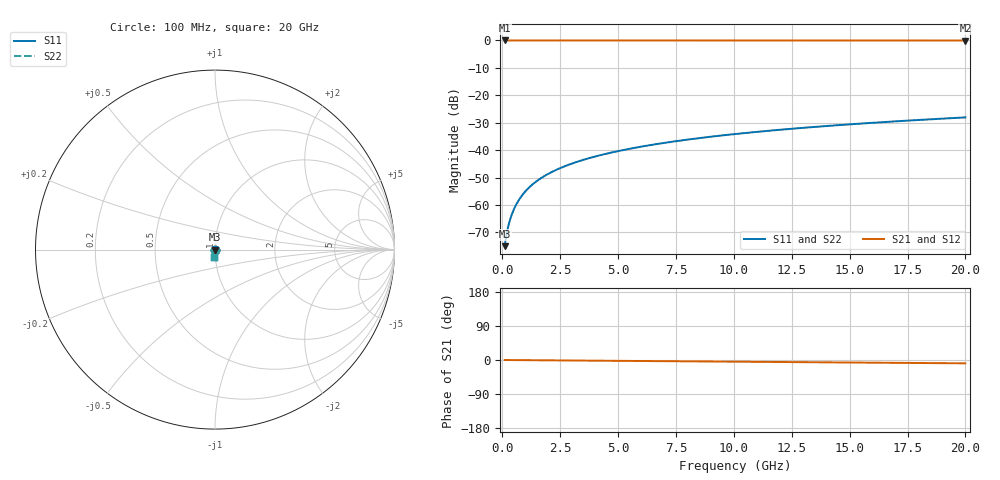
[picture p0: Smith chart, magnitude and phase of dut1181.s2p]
! Touchstone file exported from HFSS 2026.1.0
!  File:  C:/ffzhzh/LocalFiles/Ansys_Project_Files/temp_train_TSV_1181_1783192235_22436.aedt
!  Generated:  03:12:00 AM Jul  5, 2026
!  Design:  TSV
!  Project:  temp_train_TSV_1181_1783192235_22436
! Variables:
!  h_bsmrdl = 2um
!  h_ox = 20um
!  h_rdl = 5um
!  h_sub = 88.49um
!  h_tmrdl = 5um
!  h_tsv = 88.49um
!  h_via = 3um
!  l_bsmrdl = 300um
!  l_sub = 426.16um
!  l_tmrdl = 200um
!  m_sub = 200um
!  pitch = 41.36um
!  r_tsv = 13.08um
!  s_tmrdl = 10um
!  w_bsmrdl = 18um
!  w_sub = 500um
!  w_tmrdl = 12um
!  x_tsv_center1 = 206um
!  x_tsv_center2 = 524um
!  x_tsv_center3 = 736um
!  x_tsv_center4 = 1054um
!  x_tsv_center5 = 1266um
!  x_tsv_center6 = 1584um
# GHz S MA R 50.000000
! Terminal data exported
! Port[1] = TSV1_1_T1
! Port[2] = TSV1_1_T2
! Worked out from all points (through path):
!   200 points, 100 MHz to 20 GHz, reference 50 ohm
!   highest |S21| = 0.00 dB at 100 MHz (marker M1); lowest = 0.0 dB at 20 GHz (marker M2)
!   group delay of S21, straight-line fit = 1.22 ps
!   lowest |S11| = -75.0 dB at 100 MHz (marker M3), VSWR 1.00, Z = 50 - j0.015 ohm
!   |S11| at or under -10 dB: start of sweep to end of sweep
!   |S22| runs from -75.0 to -28.0 dB; largest |S21 - S12| = 5.6e-15
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0.1  0.0001781 -57.1  0.9999 -0.0  0.9999 -0.0  0.0001781 -57.1
! Gamma 0 0 0 0
! Port Impedance 50 0 50 0
0.2  0.0003235 -69.7  0.9999 -0.1  0.9999 -0.1  0.0003235 -69.7
0.3  0.0004838 -73.8  0.9999 -0.1  0.9999 -0.1  0.0004838 -73.8
0.4  0.0006541 -75.8  0.9998 -0.2  0.9998 -0.2  0.0006541 -75.8
0.5  0.0008323 -77.0  0.9998 -0.2  0.9998 -0.2  0.0008323 -77.0
0.7  0.001205 -78.7  0.9998 -0.3  0.9998 -0.3  0.001205 -78.7
0.8  0.001396 -79.5  0.9997 -0.4  0.9997 -0.4  0.001396 -79.5
1  0.001784 -80.8  0.9997 -0.5  0.9997 -0.5  0.001784 -80.8
1.2  0.002174 -81.8  0.9997 -0.5  0.9997 -0.5  0.002174 -81.8
1.4  0.002565 -82.7  0.9996 -0.6  0.9996 -0.6  0.002565 -82.7
1.7  0.003151 -83.8  0.9996 -0.8  0.9996 -0.8  0.003151 -83.8
2  0.003737 -84.7  0.9996 -0.9  0.9996 -0.9  0.003737 -84.7
2.7  0.005103 -86.0  0.9995 -1.2  0.9995 -1.2  0.005103 -86.0
3.5  0.006669 -87.1  0.9995 -1.6  0.9995 -1.6  0.006669 -87.1
4.2  0.008045 -87.8  0.9994 -1.9  0.9994 -1.9  0.008045 -87.8
5  0.009625 -88.5  0.9993 -2.2  0.9993 -2.2  0.009625 -88.5
6.8  0.0132 -89.9  0.9992 -3.0  0.9992 -3.0  0.0132 -89.9
8.3  0.01619 -90.8  0.9991 -3.7  0.9991 -3.7  0.01619 -90.8
10.1  0.01979 -91.9  0.9989 -4.5  0.9989 -4.5  0.01979 -91.9
13.4  0.02638 -93.7  0.9986 -5.9  0.9986 -5.9  0.02638 -93.7
16.7  0.03298 -95.4  0.9983 -7.4  0.9983 -7.4  0.03298 -95.4
20  0.03959 -97.0  0.998 -8.8  0.998 -8.8  0.03959 -97.0
